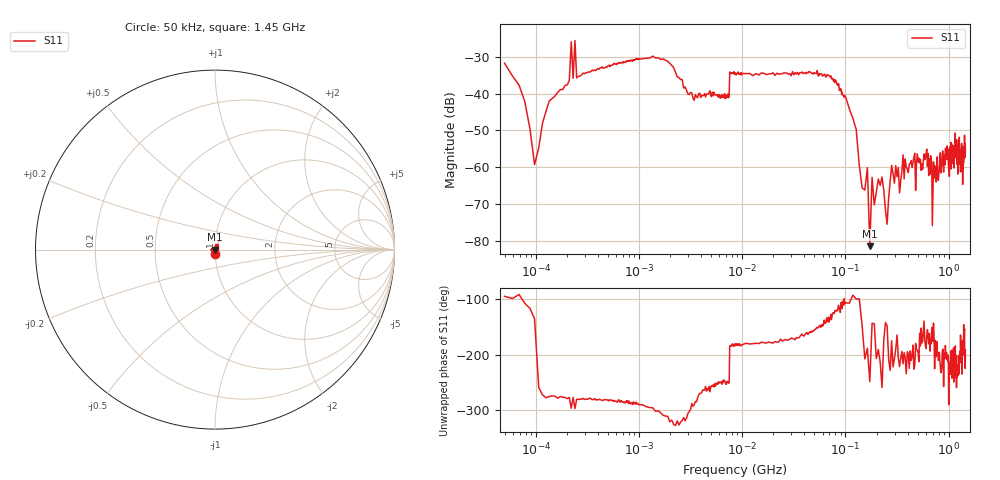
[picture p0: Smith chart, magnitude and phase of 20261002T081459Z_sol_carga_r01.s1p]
! prueba_sol / sol_carga / r01
# HZ S RI R 50
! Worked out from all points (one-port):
!   501 points, 50 kHz to 1.45 GHz, reference 50 ohm
!   lowest |S11| = -81.5 dB at 172 MHz (marker M1), VSWR 1.00, Z = 50 + j0.0078 ohm
!   |S11| at or under -10 dB: start of sweep to end of sweep
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50000  -0.00257 -0.0257
107000  -0.000351 0.0018
183000  0.00124 0.0113
240000  0.0236 0.0472
658000  0.00686 0.025
1540000  0.0155 0.0265
2440000  0.0137 0.0092
3520000  0.00233 0.00943
7030000  -0.00253 0.00835
8560000  -0.0184 0.000711
3.16e7  -0.0178 -0.00257
7.03e7  -0.012 -0.0122
1.18e8  -0.000283 -0.00457
1.54e8  -0.000431 0.000226
1.72e8  -3.1e-05 7.8e-05
2.17e8  -0.000468 0.000313
2.53e8  -0.000142 -8.8e-05
2.89e8  -0.000601 0.000543
4.06e8  -0.000796 0.000274
5.95e8  -0.00133 9.1e-05
7.12e8  -0.000946 -0.000698
9.46e8  -0.00126 0.000577
1.1215e9  -0.000643 0.00168
1.1665e9  -0.00142 0.00177
1.234e9  -0.000475 0.00075
1.2655e9  -0.0019 0.00169
1.3735e9  -0.0017 -0.000179
1.45e9  -0.00158 0.000317
